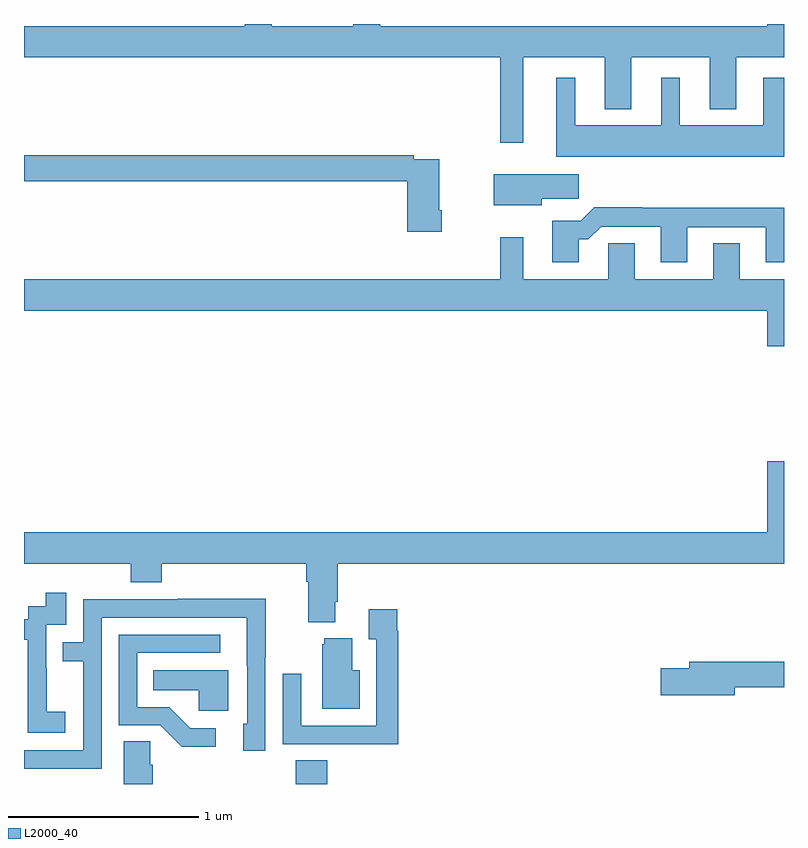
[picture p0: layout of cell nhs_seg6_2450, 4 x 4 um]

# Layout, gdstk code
import gdstk
lib = gdstk.Library(unit=1e-6, precision=1e-09)
def R(c, l, rs):  # rectangles x0, y0, x1, y1
    for r in rs: c.add(gdstk.rectangle(r[:2], r[2:], *l))
def P(c, l, *ps):  # polygons
    for p in ps: c.add(gdstk.Polygon(p, *l))
L2000_40 = (2000, 40)

nhs_seg6_2450 = lib.new_cell('nhs_seg6_2450')
R(nhs_seg6_2450, L2000_40, [(258.431,955.5,258.596,955.625)])
P(nhs_seg6_2450, L2000_40, [(259.627,959.324),(260.057,959.324),(260.057,959.051),(260.197,959.051),(260.197,959.324),(260.609,959.324),(260.609,959.051),(260.749,959.051),(260.749,959.324),(261,959.324),(261,959.5),(260.912,959.5),(260.912,959.488),(258.874,959.488),(258.874,959.5),(258.734,959.5),(258.734,959.488),(258.304,959.488),(258.304,959.5),(258.161,959.5),(258.161,959.488),(257,959.488),(257,959.324),(259.506,959.324),(259.506,958.875),(259.627,958.875)],
  [(261,959.218),(260.891,959.218),(260.891,958.966),(260.452,958.966),(260.452,959.218),(260.354,959.218),(260.354,958.966),(259.9,958.966),(259.9,959.218),(259.802,959.218),(259.802,958.802),(261,958.802)],
  [(259.199,958.519),(259.186,958.519),(259.186,958.788),(259.052,958.788),(259.052,958.808),(257,958.808),(257,958.672),(259.016,958.672),(259.016,958.407),(259.199,958.407)],
  [(259.726,958.579),(259.921,958.579),(259.921,958.708),(259.472,958.708),(259.472,958.547),(259.726,958.547)],
  [(259.921,958.367),(259.97,958.367),(260.037,958.434),(260.351,958.434),(260.351,958.245),(260.491,958.245),(260.491,958.431),(260.903,958.431),(260.903,958.245),(261,958.245),(261,958.532),(260.255,958.532),(260.255,958.535),(260,958.535),(259.93,958.465),(259.781,958.465),(259.781,958.245),(259.921,958.245)],
  [(261,958.156),(260.767,958.156),(260.767,958.346),(260.627,958.346),(260.627,958.156),(260.215,958.156),(260.215,958.346),(260.076,958.346),(260.076,958.156),(259.627,958.156),(259.627,958.378),(259.506,958.378),(259.506,958.156),(257,958.156),(257,957.992),(260.912,957.992),(260.912,957.804),(261,957.804)],
  [(258.637,956.458),(258.65,956.458),(258.65,956.66),(261,956.66),(261,957.199),(260.912,957.199),(260.912,956.824),(257,956.824),(257,956.66),(257.561,956.66),(257.561,956.561),(257.726,956.561),(257.726,956.66),(258.485,956.66),(258.485,956.564),(258.497,956.564),(258.497,956.351),(258.637,956.351)],
  [(257.218,955.879),(257.12,955.879),(257.12,956.108),(257.118,956.108),(257.118,956.337),(257.223,956.337),(257.223,956.506),(257.115,956.506),(257.115,956.436),(257.022,956.436),(257.022,956.367),(257,956.367),(257,956.259),(257.021,956.259),(257.021,955.975),(257.02,955.975),(257.02,955.769),(257.218,955.769)],
  [(257.409,956.376),(258.173,956.376),(258.173,956.122),(258.174,956.122),(258.174,955.818),(258.155,955.818),(258.155,955.674),(258.27,955.674),(258.27,956.167),(258.273,956.167),(258.273,956.474),(257.809,956.474),(257.809,956.472),(257.313,956.472),(257.313,956.247),(257.203,956.247),(257.203,956.146),(257.313,956.146),(257.313,955.677),(257,955.677),(257,955.581),(257.409,955.581)],
  [(258.971,956.306),(258.964,956.306),(258.964,956.419),(258.815,956.419),(258.815,956.263),(258.855,956.263),(258.855,955.806),(258.459,955.806),(258.459,956.08),(258.363,956.08),(258.363,955.71),(258.679,955.71),(258.679,955.709),(258.971,955.709)],
  [(258.01,955.794),(257.875,955.794),(257.764,955.905),(257.595,955.905),(257.595,956.19),(258.034,956.19),(258.034,956.286),(257.499,956.286),(257.499,955.809),(257.718,955.809),(257.831,955.697),(258.01,955.697)],
  [(258.766,956.098),(258.727,956.098),(258.727,956.266),(258.581,956.266),(258.581,956.235),(258.569,956.235),(258.569,955.895),(258.766,955.895)],
  [(260.74,956.008),(261,956.008),(261,956.144),(260.501,956.144),(260.501,956.108),(260.352,956.108),(260.352,955.966),(260.74,955.966)],
  [(258.076,956.098),(257.68,956.098),(257.68,955.994),(257.919,955.994),(257.919,955.886),(258.076,955.886)],
  [(257.678,955.601),(257.664,955.601),(257.664,955.724),(257.525,955.724),(257.525,955.5),(257.678,955.5)])

lib.write_gds('nhs_seg6_2450.gds')
